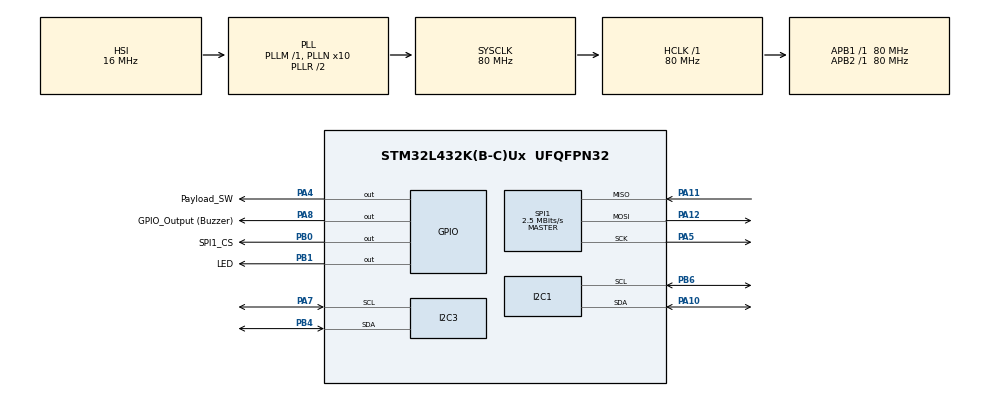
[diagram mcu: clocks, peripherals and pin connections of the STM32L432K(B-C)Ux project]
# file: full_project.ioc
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FATFS._MAX_SS=4096
FATFS._USE_LFN=1
I2C1.Timing=0x10909CEC
I2C3.Timing=0x10909CEC
Mcu.Family=STM32L4
Mcu.Name=STM32L432K(B-C)Ux
Mcu.Package=UFQFPN32
NVIC.PriorityGroup=NVIC_PRIORITYGROUP_4
PA0.Signal=S_TIM2_CH1
PA10.GPIO_Mode=GPIO_MODE_AF_OD
PA10.GPIO_Pu=GPIO_PULLUP
PA10.GPIO_Speed=GPIO_SPEED_FREQ_HIGH
PA10.Mode=I2C
PA10.Signal=I2C1_SDA
PA11.GPIO_PuPd=GPIO_NOPULL
PA11.GPIO_Speed=GPIO_SPEED_FREQ_HIGH
PA11.Mode=Full_Duplex_Master
PA11.Signal=SPI1_MISO
PA12.GPIO_PuPd=GPIO_NOPULL
PA12.GPIO_Speed=GPIO_SPEED_FREQ_HIGH
PA12.Mode=Full_Duplex_Master
PA12.Signal=SPI1_MOSI
PA13\ (JTMS-SWDIO).Mode=Serial_Wire
PA13\ (JTMS-SWDIO).Signal=SYS_JTMS-SWDIO
PA14\ (JTCK-SWCLK).Mode=Serial_Wire
PA14\ (JTCK-SWCLK).Signal=SYS_JTCK-SWCLK
PA4.GPIO_Label=Payload_SW
PA4.Signal=GPIO_Output
PA5.GPIO_PuPd=GPIO_NOPULL
PA5.GPIO_Speed=GPIO_SPEED_FREQ_HIGH
PA5.Mode=Full_Duplex_Master
PA5.Signal=SPI1_SCK
PA7.Mode=I2C
PA7.Signal=I2C3_SCL
PA8.GPIO_Label=GPIO_Output (Buzzer)
PA8.Signal=GPIO_Output
PB0.GPIO_Label=SPI1_CS
PB0.Signal=GPIO_Output
PB1.GPIO_Label=LED
PB1.Signal=GPIO_Output
PB3\ (JTDO-TRACESWO).Signal=SYS_JTDO-SWO
PB4\ (NJTRST).Mode=I2C
PB4\ (NJTRST).Signal=I2C3_SDA
PB6.GPIO_Mode=GPIO_MODE_AF_OD
PB6.GPIO_Pu=GPIO_PULLUP
PB6.GPIO_Speed=GPIO_SPEED_FREQ_HIGH
PB6.Mode=I2C
PB6.Signal=I2C1_SCL
ProjectManager.HeapSize=0x200
ProjectManager.StackSize=0x400
ProjectManager.TargetToolchain=STM32CubeIDE
RCC.ADCFreq_Value=64000000
RCC.AHBFreq_Value=80000000
RCC.APB1Freq_Value=80000000
RCC.APB1TimFreq_Value=80000000
RCC.APB2Freq_Value=80000000
RCC.APB2TimFreq_Value=80000000
RCC.CortexFreq_Value=80000000
RCC.HCLKFreq_Value=80000000
RCC.HSE_VALUE=8000000
RCC.HSI48_VALUE=48000000
RCC.HSI_VALUE=16000000
RCC.LSE_VALUE=32768
RCC.MSI_VALUE=4000000
RCC.PLLN=10
RCC.PLLSourceVirtual=RCC_PLLSOURCE_HSI
RCC.SYSCLKFreq_VALUE=80000000
RCC.SYSCLKSource=RCC_SYSCLKSOURCE_PLLCLK
RCC.USBFreq_Value=64000000
RCC.VCOOutputFreq_Value=160000000
SH.S_TIM2_CH1.0=TIM2_CH1
SPI1.BaudRatePrescaler=SPI_BAUDRATEPRESCALER_32
SPI1.CalculateBaudRate=2.5 MBits/s
SPI1.DataSize=SPI_DATASIZE_8BIT
SPI1.Direction=SPI_DIRECTION_2LINES
SPI1.Mode=SPI_MODE_MASTER
SPI1.VirtualType=VM_MASTER
VP_FATFS_VS_Generic.Mode=User_defined
board=custom

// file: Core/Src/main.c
/* USER CODE BEGIN Header */
/**
 ******************************************************************************
 * @file           : main.c
 * @brief          : Main program body
 ******************************************************************************
 * @attention
 *
 * Copyright (c) 2023 STMicroelectronics.
 * All rights reserved.
 *
 * This software is licensed under terms that can be found in the LICENSE file
 * in the root directory of this software component.
 * If no LICENSE file comes with this software, it is provided AS-IS.
 *
 ******************************************************************************
 */
/* USER CODE END Header */
#include "main.h"
#include "fatfs.h"

/* USER CODE BEGIN Includes */
#include "BMP180.h"
#include "MPU6050.h"
#include "LED.h"
#include "BUZZER.h"
#include "INA219.h"
#include "File_Handling.h"
#include "SD_Handler.h"
/* USER CODE END Includes */

I2C_HandleTypeDef hi2c1;
I2C_HandleTypeDef hi2c3;

SPI_HandleTypeDef hspi1;

void SystemClock_Config(void);
static void MX_GPIO_Init(void);
static void MX_I2C1_Init(void);
static void MX_SPI1_Init(void);
static void MX_I2C3_Init(void);

/* USER CODE BEGIN 0 */

//Create BMP180 and MPU6050 objects
BMP180_t BMP180;
MPU6050_t MPU6050;
INA219_t INA219;
//Define the state as an enum
enum state {
	NOMINAL, SAFE
};
enum state current_state;
/* USER CODE END 0 */

int main(void)
{

  /* MCU Configuration--------------------------------------------------------*/

  /* Reset of all peripherals, Initializes the Flash interface and the Systick. */
  HAL_Init();

  /* Configure the system clock */
  SystemClock_Config();

  /* Initialize all configured peripherals */
  MX_GPIO_Init();
  MX_I2C1_Init();
  MX_SPI1_Init();
  MX_I2C3_Init();
  MX_FATFS_Init();
  /* USER CODE BEGIN 2 */

	//Initialize BMP180 and MPU6050 objects
	BMP180_Init();
	int answer = MPU6050_Init(); //if MPU6050_Init returns 0, everything is fine

	//Define the state
	if (answer == 0) {
		current_state = NOMINAL;
	} else {
		current_state = SAFE;
	}
	init_SD_card();
	LED_TurnOn();
	BUZZER_TurnOn();
	HAL_Delay(1000);
	BUZZER_TurnOff();
  /* USER CODE END 2 */

  /* Infinite loop */
  /* USER CODE BEGIN WHILE */
	while (1) {
		BMP180_Read_All(&BMP180, 0);
		MPU6050_Read_Accel(&MPU6050);
		MPU6050_Read_Temp(&MPU6050);
		process_SD_card(&MPU6050, &BMP180, &INA219);
		HAL_Delay(20);
    /* USER CODE END WHILE */

	}
}

void SystemClock_Config(void)
{
  RCC_OscInitTypeDef RCC_OscInitStruct = {0};
  RCC_ClkInitTypeDef RCC_ClkInitStruct = {0};

  /** Configure the main internal regulator output voltage
  */
  if (HAL_PWREx_ControlVoltageScaling(PWR_REGULATOR_VOLTAGE_SCALE1) != HAL_OK)
  {
    Error_Handler();
  }

  /** Initializes the RCC Oscillators according to the specified parameters
  * in the RCC_OscInitTypeDef structure.
  */
  RCC_OscInitStruct.OscillatorType = RCC_OSCILLATORTYPE_HSI;
  RCC_OscInitStruct.HSIState = RCC_HSI_ON;
  RCC_OscInitStruct.HSICalibrationValue = RCC_HSICALIBRATION_DEFAULT;
  RCC_OscInitStruct.PLL.PLLState = RCC_PLL_ON;
  RCC_OscInitStruct.PLL.PLLSource = RCC_PLLSOURCE_HSI;
  RCC_OscInitStruct.PLL.PLLM = 1;
  RCC_OscInitStruct.PLL.PLLN = 10;
  RCC_OscInitStruct.PLL.PLLP = RCC_PLLP_DIV7;
  RCC_OscInitStruct.PLL.PLLQ = RCC_PLLQ_DIV2;
  RCC_OscInitStruct.PLL.PLLR = RCC_PLLR_DIV2;
  if (HAL_RCC_OscConfig(&RCC_OscInitStruct) != HAL_OK)
  {
    Error_Handler();
  }

  /** Initializes the CPU, AHB and APB buses clocks
  */
  RCC_ClkInitStruct.ClockType = RCC_CLOCKTYPE_HCLK|RCC_CLOCKTYPE_SYSCLK
                              |RCC_CLOCKTYPE_PCLK1|RCC_CLOCKTYPE_PCLK2;
  RCC_ClkInitStruct.SYSCLKSource = RCC_SYSCLKSOURCE_PLLCLK;
  RCC_ClkInitStruct.AHBCLKDivider = RCC_SYSCLK_DIV1;
  RCC_ClkInitStruct.APB1CLKDivider = RCC_HCLK_DIV1;
  RCC_ClkInitStruct.APB2CLKDivider = RCC_HCLK_DIV1;

  if (HAL_RCC_ClockConfig(&RCC_ClkInitStruct, FLASH_LATENCY_4) != HAL_OK)
  {
    Error_Handler();
  }
}

static void MX_I2C1_Init(void)
{

  hi2c1.Instance = I2C1;
  hi2c1.Init.Timing = 0x10909CEC;
  hi2c1.Init.OwnAddress1 = 0;
  hi2c1.Init.AddressingMode = I2C_ADDRESSINGMODE_7BIT;
  hi2c1.Init.DualAddressMode = I2C_DUALADDRESS_DISABLE;
  hi2c1.Init.OwnAddress2 = 0;
  hi2c1.Init.OwnAddress2Masks = I2C_OA2_NOMASK;
  hi2c1.Init.GeneralCallMode = I2C_GENERALCALL_DISABLE;
  hi2c1.Init.NoStretchMode = I2C_NOSTRETCH_DISABLE;
  if (HAL_I2C_Init(&hi2c1) != HAL_OK)
  {
    Error_Handler();
  }

  /** Configure Analogue filter
  */
  if (HAL_I2CEx_ConfigAnalogFilter(&hi2c1, I2C_ANALOGFILTER_ENABLE) != HAL_OK)
  {
    Error_Handler();
  }

  /** Configure Digital filter
  */
  if (HAL_I2CEx_ConfigDigitalFilter(&hi2c1, 0) != HAL_OK)
  {
    Error_Handler();
  }

}

static void MX_I2C3_Init(void)
{

  hi2c3.Instance = I2C3;
  hi2c3.Init.Timing = 0x10909CEC;
  hi2c3.Init.OwnAddress1 = 0;
  hi2c3.Init.AddressingMode = I2C_ADDRESSINGMODE_7BIT;
  hi2c3.Init.DualAddressMode = I2C_DUALADDRESS_DISABLE;
  hi2c3.Init.OwnAddress2 = 0;
  hi2c3.Init.OwnAddress2Masks = I2C_OA2_NOMASK;
  hi2c3.Init.GeneralCallMode = I2C_GENERALCALL_DISABLE;
  hi2c3.Init.NoStretchMode = I2C_NOSTRETCH_DISABLE;
  if (HAL_I2C_Init(&hi2c3) != HAL_OK)
  {
    Error_Handler();
  }

  /** Configure Analogue filter
  */
  if (HAL_I2CEx_ConfigAnalogFilter(&hi2c3, I2C_ANALOGFILTER_ENABLE) != HAL_OK)
  {
    Error_Handler();
  }

  /** Configure Digital filter
  */
  if (HAL_I2CEx_ConfigDigitalFilter(&hi2c3, 0) != HAL_OK)
  {
    Error_Handler();
  }

}

static void MX_SPI1_Init(void)
{

  /* SPI1 parameter configuration*/
  hspi1.Instance = SPI1;
  hspi1.Init.Mode = SPI_MODE_MASTER;
  hspi1.Init.Direction = SPI_DIRECTION_2LINES;
  hspi1.Init.DataSize = SPI_DATASIZE_8BIT;
  hspi1.Init.CLKPolarity = SPI_POLARITY_LOW;
  hspi1.Init.CLKPhase = SPI_PHASE_1EDGE;
  hspi1.Init.NSS = SPI_NSS_SOFT;
  hspi1.Init.BaudRatePrescaler = SPI_BAUDRATEPRESCALER_32;
  hspi1.Init.FirstBit = SPI_FIRSTBIT_MSB;
  hspi1.Init.TIMode = SPI_TIMODE_DISABLE;
  hspi1.Init.CRCCalculation = SPI_CRCCALCULATION_DISABLE;
  hspi1.Init.CRCPolynomial = 7;
  hspi1.Init.CRCLength = SPI_CRC_LENGTH_DATASIZE;
  hspi1.Init.NSSPMode = SPI_NSS_PULSE_ENABLE;
  if (HAL_SPI_Init(&hspi1) != HAL_OK)
  {
    Error_Handler();
  }

}

static void MX_GPIO_Init(void)
{
  GPIO_InitTypeDef GPIO_InitStruct = {0};

  /* GPIO Ports Clock Enable */
  __HAL_RCC_GPIOA_CLK_ENABLE();
  __HAL_RCC_GPIOB_CLK_ENABLE();

  /*Configure GPIO pin Output Level */
  HAL_GPIO_WritePin(GPIOA, Payload_SW_Pin|GPIO_Output_Pin, GPIO_PIN_RESET);

  /*Configure GPIO pin Output Level */
  HAL_GPIO_WritePin(GPIOB, SPI1_CS_Pin|LED_Pin, GPIO_PIN_RESET);

  /*Configure GPIO pin : PA0 */
  GPIO_InitStruct.Pin = GPIO_PIN_0;
  GPIO_InitStruct.Mode = GPIO_MODE_AF_PP;
  GPIO_InitStruct.Pull = GPIO_NOPULL;
  GPIO_InitStruct.Speed = GPIO_SPEED_FREQ_LOW;
  GPIO_InitStruct.Alternate = GPIO_AF1_TIM2;
  HAL_GPIO_Init(GPIOA, &GPIO_InitStruct);

  /*Configure GPIO pins : Payload_SW_Pin GPIO_Output_Pin */
  GPIO_InitStruct.Pin = Payload_SW_Pin|GPIO_Output_Pin;
  GPIO_InitStruct.Mode = GPIO_MODE_OUTPUT_PP;
  GPIO_InitStruct.Pull = GPIO_NOPULL;
  GPIO_InitStruct.Speed = GPIO_SPEED_FREQ_LOW;
  HAL_GPIO_Init(GPIOA, &GPIO_InitStruct);

  /*Configure GPIO pins : SPI1_CS_Pin LED_Pin */
  GPIO_InitStruct.Pin = SPI1_CS_Pin|LED_Pin;
  GPIO_InitStruct.Mode = GPIO_MODE_OUTPUT_PP;
  GPIO_InitStruct.Pull = GPIO_NOPULL;
  GPIO_InitStruct.Speed = GPIO_SPEED_FREQ_LOW;
  HAL_GPIO_Init(GPIOB, &GPIO_InitStruct);

}

void Error_Handler(void)
{
	__disable_irq();
	while (1) {
	}
}
